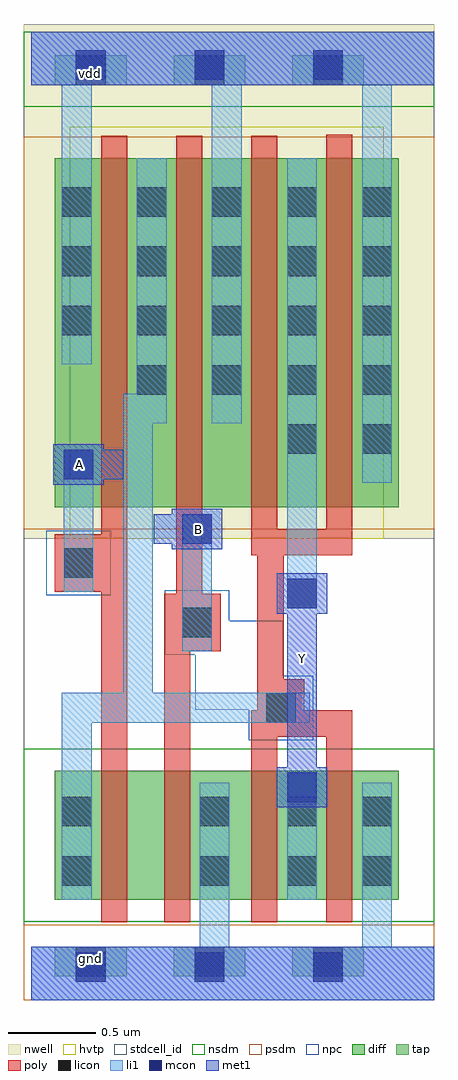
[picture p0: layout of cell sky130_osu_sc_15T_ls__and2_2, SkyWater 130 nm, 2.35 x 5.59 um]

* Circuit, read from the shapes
.subckt sky130_osu_sc_15T_ls__and2_2 A B Y gnd vdd
XM1 n1 A n2 gnd sky130_fd_pr__nfet_01v8 w=0.74 l=0.15
XM2 gnd B n1 gnd sky130_fd_pr__nfet_01v8 w=0.74 l=0.15
XM3 Y n2 gnd gnd sky130_fd_pr__nfet_01v8 w=0.74 l=0.15 m=2
XM4 n2 A vdd vdd sky130_fd_pr__pfet_01v8_hvt w=2 l=0.15
XM5 vdd B n2 vdd sky130_fd_pr__pfet_01v8_hvt w=2 l=0.15
XM6 Y n2 vdd vdd sky130_fd_pr__pfet_01v8_hvt w=2 l=0.15 m=2
.ends

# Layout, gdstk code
import gdstk
lib = gdstk.Library(unit=1e-6, precision=1e-09)
def R(c, l, rs):  # rectangles x0, y0, x1, y1
    for r in rs: c.add(gdstk.rectangle(r[:2], r[2:], *l))
def A(c, l, x, y, w, h, nx, ny, dx, dy):  # array of equal rectangles
    R(c, l, [(x+i*dx, y+j*dy, x+i*dx+w, y+j*dy+h) for i in range(nx) for j in range(ny)])
nwell = (64, 20)
diff = (65, 20)
tap = (65, 44)
poly = (66, 20)
licon = (66, 44)
li1 = (67, 20)
mcon = (67, 44)
met1 = (68, 20)
hvtp = (78, 44)
stdcell_id = (81, 4)
nsdm = (93, 44)
psdm = (94, 20)
npc = (95, 20)

sky130_osu_sc_15t_ls__an = lib.new_cell('sky130_osu_sc_15T_ls__and2_2')
R(sky130_osu_sc_15t_ls__an, nwell, [(-0.045,2.645,2.31,5.595)])
R(sky130_osu_sc_15t_ls__an, diff, [(0.135,0.575,2.105,1.315), (0.135,2.825,2.105,4.825)])
A(sky130_osu_sc_15t_ls__an, tap, 0.135, 0.135, 0.41, 0.17, 3, 2, 0.68, 5.11)
R(sky130_osu_sc_15t_ls__an, poly, [(0.4,0.445,0.55,2.34), (0.76,0.445,0.91,2), (1.26,0.445,1.41,1.51), (1.69,0.445,1.84,1.51), (1.26,1.51,1.84,1.66), (1.295,1.66,1.565,1.84), (1.295,1.84,1.445,2.55), (0.76,2,1.085,2.33), (0.83,2.33,0.98,4.955), (0.135,2.34,0.55,2.67), (1.26,2.55,1.84,2.7), (0.4,2.67,0.55,4.955), (1.26,2.7,1.41,4.955), (1.69,2.7,1.84,4.96)])
A(sky130_osu_sc_15t_ls__an, licon, 0.255, 0.135, 0.17, 0.17, 3, 2, 0.68, 5.11)
A(sky130_osu_sc_15t_ls__an, licon, 0.605, 3.47, 0.17, 0.17, 4, 1, 0.43, 0)
A(sky130_osu_sc_15t_ls__an, licon, 0.175, 3.81, 0.17, 0.17, 5, 3, 0.43, 0.34)
R(sky130_osu_sc_15t_ls__an, licon, [(0.175,0.655,0.345,0.825), (0.965,0.655,1.135,0.825), (1.465,0.655,1.635,0.825), (1.895,0.655,2.065,0.825), (0.175,0.995,0.345,1.165), (0.965,0.995,1.135,1.165), (1.465,0.995,1.635,1.165), (1.895,0.995,2.065,1.165), (1.345,1.59,1.515,1.76), (0.865,2.08,1.035,2.25), (0.185,2.42,0.355,2.59), (1.465,3.13,1.635,3.3), (1.895,3.13,2.065,3.3)])
R(sky130_osu_sc_15t_ls__an, li1, [(0,0,2.31,0.305), (0.965,0.305,1.135,1.245), (1.895,0.305,2.065,1.245), (0.175,0.575,0.345,1.59), (1.465,0.575,1.635,1.305), (0.175,1.59,1.595,1.76), (0.525,1.76,0.695,3.305), (0.865,2,1.035,2.785), (1.465,2.245,1.635,4.825), (0.185,2.34,0.355,3.155), (1.895,2.965,2.065,5.245), (0.525,3.305,0.775,3.475), (1.035,3.305,1.205,5.245), (0.605,3.475,0.775,4.825), (0.175,3.645,0.345,5.245), (0,5.245,2.31,5.55)])
A(sky130_osu_sc_15t_ls__an, mcon, 0.255, 0.105, 0.17, 0.17, 3, 2, 0.68, 5.17)
R(sky130_osu_sc_15t_ls__an, mcon, [(1.465,1.135,1.635,1.305), (1.465,2.245,1.635,2.415), (0.865,2.615,1.035,2.785), (0.185,2.985,0.355,3.155)])
R(sky130_osu_sc_15t_ls__an, met1, [(0,0,2.31,0.305), (1.405,1.105,1.695,1.335), (1.465,1.335,1.635,2.215), (1.405,2.215,1.695,2.445), (0.805,2.585,1.095,2.615), (0.7,2.615,1.095,2.785), (0.805,2.785,1.095,2.815), (0.125,2.955,0.415,2.985), (0.125,2.985,0.525,3.155), (0.125,3.155,0.415,3.185), (0,5.245,2.31,5.55)])
R(sky130_osu_sc_15t_ls__an, hvtp, [(0.22,2.645,2.02,5.005)])
R(sky130_osu_sc_15t_ls__an, stdcell_id, [(-0.045,0,2.31,5.55)])
R(sky130_osu_sc_15t_ls__an, nsdm, [(-0.045,0.45,2.31,1.44), (-0.045,5.12,2.31,5.55)])
R(sky130_osu_sc_15t_ls__an, psdm, [(-0.045,0,2.31,0.43), (-0.045,2.7,2.31,4.95)])
R(sky130_osu_sc_15t_ls__an, npc, [(1.245,1.49,1.615,1.665), (0.94,1.665,1.615,1.86), (0.94,1.86,1.44,1.98), (0.765,1.98,1.44,2.175), (0.765,2.175,1.135,2.35), (0.085,2.32,0.455,2.69)])
sky130_osu_sc_15t_ls__an.add(gdstk.Label('gnd', (0.34,0.24), layer=68, texttype=16))
sky130_osu_sc_15t_ls__an.add(gdstk.Label('vdd', (0.34,5.31), layer=68, texttype=16))
sky130_osu_sc_15t_ls__an.add(gdstk.Label('B', (0.955,2.7), layer=68, texttype=5))
sky130_osu_sc_15t_ls__an.add(gdstk.Label('A', (0.275,3.07), layer=68, texttype=5))
sky130_osu_sc_15t_ls__an.add(gdstk.Label('Y', (1.555,1.96), layer=68, texttype=5))

lib.write_gds('sky130_osu_sc_15T_ls__and2_2.gds')
